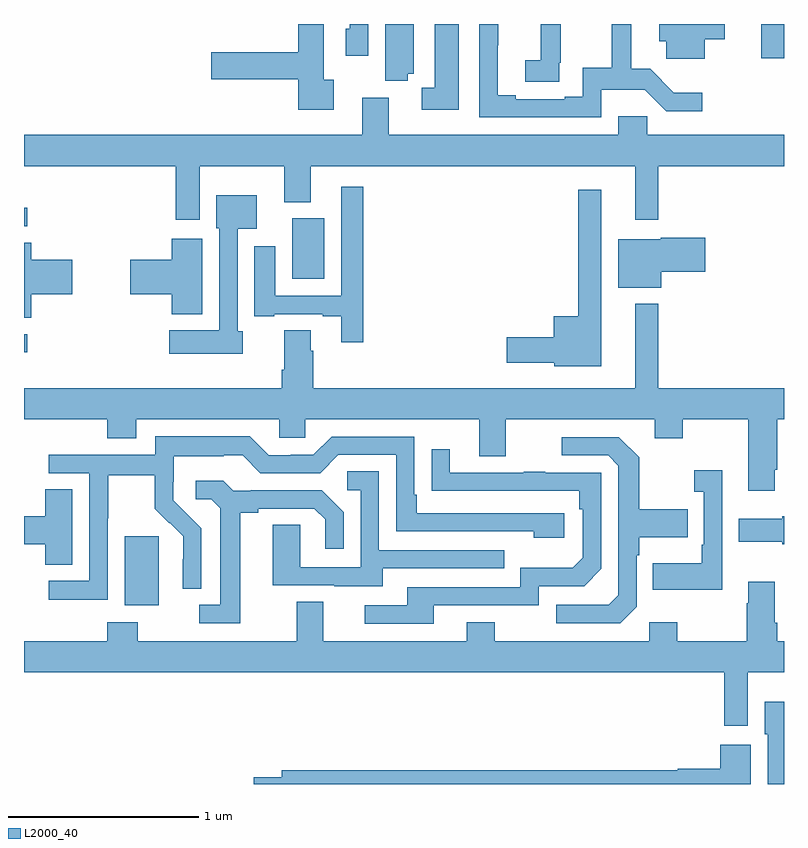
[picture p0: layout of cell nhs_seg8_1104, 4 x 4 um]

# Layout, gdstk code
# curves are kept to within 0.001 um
import gdstk
lib = gdstk.Library(unit=1e-6, precision=1e-09)
def R(c, l, rs):  # rectangles x0, y0, x1, y1
    for r in rs: c.add(gdstk.rectangle(r[:2], r[2:], *l))
def P(c, l, *ps):  # polygons
    for p in ps: c.add(gdstk.Polygon(p, *l))
L2000_40 = (2000, 40)

nhs_seg8_1104 = lib.new_cell('nhs_seg8_1104')
R(nhs_seg8_1104, L2000_40, [(181.529,1128.842,181.708,1129.203), (181,1130.172,181.018,1130.268), (182.411,1130.558,182.581,1130.878), (181,1130.835,181.018,1130.934), (184.88,1131.719,185,1131.9)])
P(nhs_seg8_1104, L2000_40, [(183.818,1131.697),(183.824,1131.697),(183.824,1131.9),(183.721,1131.9),(183.721,1131.71),(183.639,1131.71),(183.639,1131.595),(183.818,1131.595)],
  [(182.811,1131.9),(182.715,1131.9),(182.715,1131.876),(182.694,1131.876),(182.694,1131.732),(182.811,1131.732)],
  [(184.038,1131.554),(184.267,1131.554),(184.38,1131.441),(184.57,1131.441),(184.57,1131.538),(184.421,1131.538),(184.295,1131.664),(184.195,1131.664),(184.195,1131.9),(184.093,1131.9),(184.093,1131.671),(183.942,1131.671),(183.942,1131.518),(183.845,1131.518),(183.845,1131.504),(183.589,1131.504),(183.589,1131.524),(183.493,1131.524),(183.493,1131.787),(183.495,1131.787),(183.495,1131.9),(183.396,1131.9),(183.396,1131.408),(184.038,1131.408)],
  [(183.02,1131.638),(183.052,1131.638),(183.052,1131.9),(182.9,1131.9),(182.9,1131.601),(183.02,1131.601)],
  [(184.582,1131.821),(184.687,1131.821),(184.687,1131.9),(184.343,1131.9),(184.343,1131.809),(184.379,1131.809),(184.379,1131.716),(184.582,1131.716)],
  [(183.289,1131.9),(183.161,1131.9),(183.161,1131.564),(183.093,1131.564),(183.093,1131.449),(183.289,1131.449)],
  [(182.629,1131.606),(182.578,1131.606),(182.578,1131.9),(182.444,1131.9),(182.444,1131.752),(181.986,1131.752),(181.986,1131.61),(182.444,1131.61),(182.444,1131.45),(182.629,1131.45)],
  [(181.924,1131.152),(182.369,1131.152),(182.369,1130.963),(182.509,1130.963),(182.509,1131.152),(184.217,1131.152),(184.217,1130.871),(184.339,1130.871),(184.339,1131.152),(185,1131.152),(185,1131.316),(184.279,1131.316),(184.279,1131.414),(184.127,1131.414),(184.127,1131.316),(182.92,1131.316),(182.92,1131.511),(182.78,1131.511),(182.78,1131.316),(181,1131.316),(181,1131.152),(181.799,1131.152),(181.799,1130.871),(181.924,1130.871)],
  [(182.786,1131.043),(182.67,1131.043),(182.67,1130.469),(182.323,1130.469),(182.323,1130.731),(182.213,1130.731),(182.213,1130.361),(182.317,1130.361),(182.317,1130.373),(182.573,1130.373),(182.573,1130.361),(182.669,1130.361),(182.669,1130.226),(182.786,1130.226)],
  [(184.039,1131.028),(183.918,1131.028),(183.918,1130.362),(183.788,1130.362),(183.788,1130.252),(183.54,1130.252),(183.54,1130.117),(183.792,1130.117),(183.792,1130.099),(184.039,1130.099)],
  [(182.152,1130.283),(182.124,1130.283),(182.124,1130.822),(182.224,1130.822),(182.224,1130.998),(182.012,1130.998),(182.012,1130.826),(182.028,1130.826),(182.028,1130.287),(181.764,1130.287),(181.764,1130.165),(182.152,1130.165)],
  [(184.354,1130.597),(184.585,1130.597),(184.585,1130.775),(184.35,1130.775),(184.35,1130.767),(184.127,1130.767),(184.127,1130.513),(184.354,1130.513)],
  [(181.939,1130.77),(181.778,1130.77),(181.778,1130.66),(181.56,1130.66),(181.56,1130.477),(181.778,1130.477),(181.778,1130.372),(181.939,1130.372)],
  [(181.037,1130.477),(181.255,1130.477),(181.255,1130.66),(181.037,1130.66),(181.037,1130.75),(181,1130.75),(181,1130.353),(181.037,1130.353)],
  [(184.951,1129.555),(184.964,1129.555),(184.964,1129.82),(185,1129.82),(185,1129.984),(184.339,1129.984),(184.339,1130.428),(184.217,1130.428),(184.217,1129.984),(182.522,1129.984),(182.522,1130.18),(182.509,1130.18),(182.509,1130.288),(182.369,1130.288),(182.369,1130.08),(182.357,1130.08),(182.357,1129.984),(181,1129.984),(181,1129.82),(181.439,1129.82),(181.439,1129.721),(181.591,1129.721),(181.591,1129.82),(182.343,1129.82),(182.343,1129.722),(182.481,1129.722),(182.481,1129.82),(183.395,1129.82),(183.395,1129.626),(183.535,1129.626),(183.535,1129.82),(184.319,1129.82),(184.319,1129.721),(184.467,1129.721),(184.467,1129.82),(184.811,1129.82),(184.811,1129.443),(184.951,1129.443)],
  [(181.44,1129.3),(181.443,1129.3),(181.443,1129.524),(181.687,1129.524),(181.687,1129.349),(181.764,1129.272),(181.767,1129.275),(181.838,1129.205),(181.838,1129.082),(181.836,1129.082),(181.836,1128.928),(181.932,1128.928),(181.932,1129.246),(181.786,1129.394),(181.786,1129.491),(181.788,1129.491),(181.788,1129.625),(182.051,1129.625),(182.051,1129.629),(182.151,1129.629),(182.244,1129.536),(182.559,1129.536),(182.655,1129.632),(182.958,1129.632),(182.958,1129.23),(183.683,1129.23),(183.683,1129.196),(183.844,1129.196),(183.844,1129.326),(183.067,1129.326),(183.067,1129.423),(183.054,1129.423),(183.054,1129.728),(182.619,1129.728),(182.523,1129.632),(182.405,1129.632),(182.405,1129.629),(182.289,1129.629),(182.189,1129.729),(181.692,1129.729),(181.692,1129.632),(181.131,1129.632),(181.131,1129.536),(181.344,1129.536),(181.344,1128.969),(181.131,1128.969),(181.131,1128.871),(181.44,1128.871)],
  [(184.224,1128.834),(184.224,1129.103),(184.237,1129.103),(184.237,1129.199),(184.493,1129.199),(184.493,1129.347),(184.237,1129.347),(184.237,1129.619),(184.131,1129.725),(183.831,1129.725),(183.831,1129.629),(184.074,1129.629),(184.128,1129.575),(184.128,1128.894),(184.077,1128.843),(183.801,1128.843),(183.801,1128.747),(184.137,1128.747)],
  [(183.157,1128.84),(183.708,1128.84),(183.708,1128.942),(183.948,1128.942),(184.038,1129.032),(184.038,1129.539),(183.743,1129.539),(183.743,1129.544),(183.631,1129.544),(183.631,1129.539),(183.241,1129.539),(183.241,1129.663),(183.145,1129.663),(183.145,1129.444),(183.922,1129.443),(183.922,1129.346),(183.942,1129.346),(183.942,1129.092),(183.889,1129.039),(183.612,1129.039),(183.612,1128.936),(183.017,1128.936),(183.017,1128.84),(182.793,1128.84),(182.793,1128.744),(183.157,1128.744)],
  [(184.674,1129.552),(184.527,1129.552),(184.527,1129.439),(184.578,1129.439),(184.578,1129.159),(184.566,1129.159),(184.566,1129.063),(184.309,1129.063),(184.309,1128.923),(184.674,1128.923)],
  [(182.887,1129.035),(183.527,1129.035),(183.527,1129.131),(182.868,1129.131),(182.868,1129.547),(182.7,1129.547),(182.7,1129.446),(182.772,1129.446),(182.772,1129.041),(182.454,1129.041),(182.454,1129.265),(182.309,1129.265),(182.309,1128.945),(182.633,1128.945),(182.633,1128.941),(182.887,1128.941)],
  [(182.137,1129.328),(182.233,1129.328),(182.233,1129.35),(182.528,1129.35),(182.585,1129.293),(182.585,1129.137),(182.682,1129.137),(182.682,1129.33),(182.566,1129.446),(182.194,1129.446),(182.194,1129.443),(182.1,1129.443),(182.048,1129.495),(181.905,1129.495),(181.905,1129.398),(181.986,1129.398),(182.033,1129.351),(182.033,1128.843),(181.923,1128.843),(181.923,1128.747),(182.137,1128.747)],
  [(181.255,1129.451),(181.112,1129.451),(181.112,1129.31),(181,1129.31),(181,1129.163),(181.112,1129.163),(181.112,1129.054),(181.255,1129.054)],
  [(185,1129.31),(184.991,1129.31),(184.991,1129.297),(184.761,1129.297),(184.761,1129.175),(184.991,1129.175),(184.991,1129.163),(185,1129.163)],
  [(184.81,1128.488),(185,1128.488),(185,1128.652),(184.964,1128.652),(184.964,1128.748),(184.951,1128.748),(184.951,1128.964),(184.811,1128.964),(184.811,1128.851),(184.804,1128.851),(184.804,1128.652),(184.437,1128.652),(184.437,1128.751),(184.29,1128.751),(184.29,1128.652),(183.477,1128.652),(183.477,1128.751),(183.329,1128.751),(183.329,1128.652),(182.575,1128.652),(182.575,1128.86),(182.435,1128.86),(182.435,1128.652),(181.599,1128.652),(181.599,1128.751),(181.439,1128.751),(181.439,1128.652),(181,1128.652),(181,1128.488),(184.685,1128.488),(184.685,1128.207),(184.81,1128.207)],
  [(185,1128.334),(184.898,1128.334),(184.898,1128.162),(184.914,1128.162),(184.914,1127.9),(185,1127.9)],
  [(184.825,1128.106),(184.664,1128.106),(184.664,1127.98),(184.44,1127.98),(184.44,1127.972),(182.357,1127.972),(182.357,1127.936),(182.208,1127.936),(182.208,1127.9),(184.825,1127.9)])

lib.write_gds('nhs_seg8_1104.gds')
